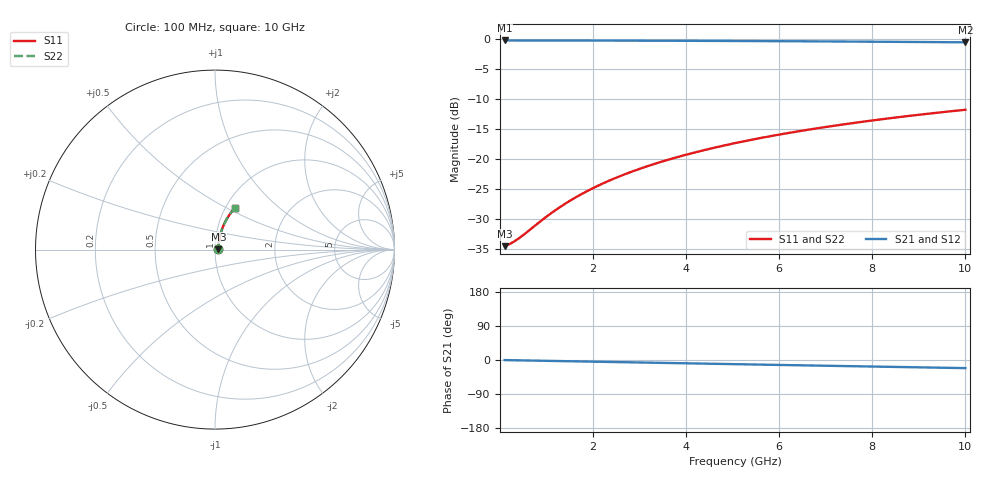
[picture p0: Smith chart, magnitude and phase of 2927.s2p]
# Hz S RI R 50.00
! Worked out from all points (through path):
!   100 points, 100 MHz to 10 GHz, reference 50 ohm
!   highest |S21| = -0.16 dB at 100 MHz (marker M1); lowest = -0.5 dB at 10 GHz (marker M2)
!   group delay of S21, straight-line fit = 5.96 ps
!   lowest |S11| = -34.6 dB at 100 MHz (marker M3), VSWR 1.04, Z = 51.9 + j0.272 ohm
!   |S11| at or under -10 dB: start of sweep to end of sweep
!   |S22| runs from -34.6 to -11.8 dB; largest |S21 - S12| = 0
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1e8  0.0185 0.00262  0.9815 -0.00375  0.9815 -0.00375  0.0185 0.00262
2e8  0.0186 0.00525  0.9814 -0.00749  0.9814 -0.00749  0.0186 0.00525
3e8  0.0188 0.00787  0.9812 -0.0112  0.9812 -0.0112  0.0188 0.00787
4e8  0.0189 0.0105  0.9811 -0.015  0.9811 -0.015  0.0189 0.0105
1e9  0.02 0.0262  0.9799 -0.0374  0.9799 -0.0374  0.02 0.0262
1.3e9  0.0208 0.034  0.9791 -0.0486  0.9791 -0.0486  0.0208 0.034
1.5e9  0.0214 0.0392  0.9784 -0.056  0.9784 -0.056  0.0214 0.0392
1.8e9  0.0225 0.047  0.9773 -0.0672  0.9773 -0.0672  0.0225 0.047
2.1e9  0.0237 0.0547  0.976 -0.0783  0.976 -0.0783  0.0237 0.0547
2.5e9  0.0256 0.065  0.9739 -0.093  0.9739 -0.093  0.0256 0.065
2.9e9  0.0278 0.0752  0.9716 -0.1077  0.9716 -0.1077  0.0278 0.0752
3.4e9  0.031 0.0878  0.9682 -0.126  0.9682 -0.126  0.031 0.0878
3.8e9  0.0339 0.0978  0.9651 -0.1405  0.9651 -0.1405  0.0339 0.0978
4.2e9  0.0371 0.1076  0.9618 -0.1548  0.9618 -0.1548  0.0371 0.1076
4.6e9  0.0405 0.1174  0.9581 -0.1691  0.9581 -0.1691  0.0405 0.1174
5.1e9  0.0453 0.1294  0.953 -0.1867  0.953 -0.1867  0.0453 0.1294
5.9e9  0.0537 0.1481  0.944 -0.2145  0.944 -0.2145  0.0537 0.1481
6.7e9  0.0632 0.1662  0.9339 -0.2416  0.9339 -0.2416  0.0632 0.1662
7.5e9  0.0737 0.1836  0.9227 -0.2681  0.9227 -0.2681  0.0737 0.1836
8.4e9  0.0865 0.2022  0.9088 -0.297  0.9088 -0.297  0.0865 0.2022
9.2e9  0.0989 0.2179  0.8955 -0.3218  0.8955 -0.3218  0.0989 0.2179
1e10  0.1121 0.2328  0.8814 -0.3457  0.8814 -0.3457  0.1121 0.2328
